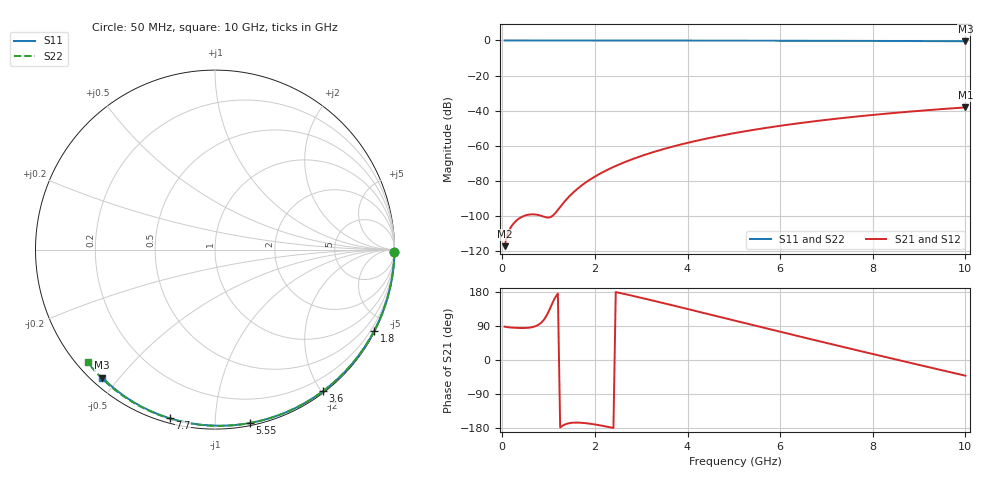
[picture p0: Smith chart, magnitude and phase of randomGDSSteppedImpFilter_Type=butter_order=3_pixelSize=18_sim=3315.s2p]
! freq	dB(S11)	phase(S11)	dB(S12)	phase(S12)
!  dB(S21)	phase(S21)	dB(S22)	phase(S22)
!S-par simulation data
#  GHz  S  DB  R 50
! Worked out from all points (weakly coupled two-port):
!   200 points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, 50 MHz to 10 GHz, reference 50 ohm
!   highest |S21| = -38.17 dB at 10 GHz (marker M1); lowest = -117.3 dB at 50 MHz (marker M2)
!   lowest |S11| = -0.4 dB at 10 GHz (marker M3), VSWR 39.12, Z = 1.54 - j22.6 ohm
!   |S11| at or under -10 dB: nowhere
!   |S22| runs from -0.5 to 0.0 dB; largest |S21 - S12| = 0
!   S11 on the Smith chart (normalised r, x): 50 MHz: open; 1.8 GHz: 0.04, -4.18; 3.6 GHz: 0.02, -2.02; 5.55 GHz: 0.02, -1.22; 7.7 GHz: 0.02, -0.77; 10 GHz: 0.03, -0.45
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0.05  -0.00 -0.8  -117.29 88.1  -117.29 88.1  -0.00 -0.8
0.45  -0.01 -6.8  -100.26 84.3  -100.26 84.3  -0.01 -7.2
0.9  -0.02 -13.6  -100.52 106.5  -100.52 106.5  -0.02 -14.3
1.75  -0.03 -26.2  -81.95 -166.1  -81.95 -166.1  -0.04 -27.6
1.8  -0.03 -26.9  -81.00 -166.7  -81.00 -166.7  -0.04 -28.4
1.85  -0.04 -27.7  -80.10 -167.4  -80.10 -167.4  -0.04 -29.2
2.15  -0.04 -32.0  -75.39 -173.3  -75.39 -173.3  -0.04 -33.8
2.35  -0.04 -34.9  -72.74 -178.2  -72.74 -178.2  -0.05 -36.8
2.55  -0.05 -37.8  -70.39 176.6  -70.39 176.6  -0.05 -39.9
2.95  -0.06 -43.5  -66.35 165.5  -66.35 165.5  -0.06 -45.9
3.4  -0.07 -49.9  -62.56 152.5  -62.56 152.5  -0.07 -52.5
3.6  -0.07 -52.7  -61.07 146.6  -61.07 146.6  -0.07 -55.5
3.9  -0.08 -56.8  -59.02 137.6  -59.02 137.6  -0.08 -59.8
4.3  -0.09 -62.2  -56.57 125.6  -56.57 125.6  -0.09 -65.5
5.05  -0.11 -72.2  -52.66 103.1  -52.66 103.1  -0.12 -76.0
5.55  -0.13 -78.7  -50.44 88.1  -50.44 88.1  -0.14 -82.8
6.1  -0.15 -85.6  -48.28 71.6  -48.28 71.6  -0.16 -90.1
6.7  -0.18 -93.0  -46.20 53.8  -46.20 53.8  -0.19 -97.9
7.7  -0.24 -105.0  -43.25 24.5  -43.25 24.5  -0.25 -110.5
8.35  -0.29 -112.6  -41.60 5.7  -41.60 5.7  -0.30 -118.5
9.2  -0.36 -122.4  -39.71 -18.7  -39.71 -18.7  -0.38 -128.8
10  -0.44 -131.4  -38.17 -41.4  -38.17 -41.4  -0.47 -138.5
